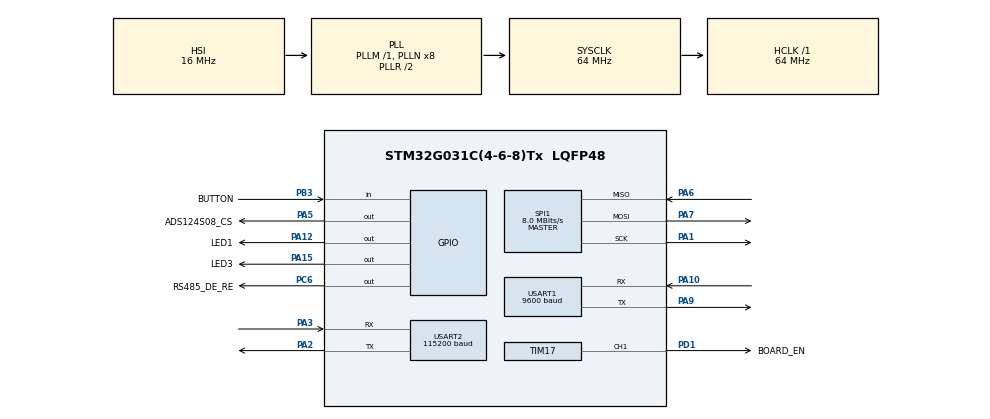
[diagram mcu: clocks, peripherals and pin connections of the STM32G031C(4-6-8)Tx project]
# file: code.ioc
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Mcu.Family=STM32G0
Mcu.Name=STM32G031C(4-6-8)Tx
Mcu.Package=LQFP48
NVIC.USART1_IRQn=true\:1\:0\:false\:false\:true\:true\:true\:true
IWDG.Prescaler=IWDG_PRESCALER_256
IWDG.Reload=499
PA1.Mode=Full_Duplex_Master
PA1.Signal=SPI1_SCK
PA10.Mode=Asynchronous
PA10.Signal=USART1_RX
PA12\ [PA10].GPIO_Label=LED1
PA12\ [PA10].PinState=GPIO_PIN_SET
PA12\ [PA10].Signal=GPIO_Output
PA13.Mode=Serial_Wire
PA13.Signal=SYS_SWDIO
PA14-BOOT0.Mode=Serial_Wire
PA14-BOOT0.Signal=SYS_SWCLK
PA15.GPIO_Label=LED3
PA15.PinState=GPIO_PIN_SET
PA15.Signal=GPIO_Output
PA2.Mode=Asynchronous
PA2.Signal=USART2_TX
PA3.Mode=Asynchronous
PA3.Signal=USART2_RX
PA5.GPIO_Label=ADS124S08_CS
PA5.Signal=GPIO_Output
PA6.Mode=Full_Duplex_Master
PA6.Signal=SPI1_MISO
PA7.Mode=Full_Duplex_Master
PA7.Signal=SPI1_MOSI
PA9.Mode=Asynchronous
PA9.Signal=USART1_TX
PB3.GPIO_Label=BUTTON
PB3.Signal=GPIO_Input
PC6.GPIO_Label=RS485_DE_RE
PC6.Signal=GPIO_Output
PD1.GPIO_Label=BOARD_EN
PD1.Mode=PWM Generation1 CH1
PD1.Signal=TIM17_CH1
PF0-OSC_IN\ (PF0).Mode=HSE-External-Oscillator
PF0-OSC_IN\ (PF0).Signal=RCC_OSC_IN
PF1-OSC_OUT\ (PF1).Mode=HSE-External-Oscillator
PF1-OSC_OUT\ (PF1).Signal=RCC_OSC_OUT
ProjectManager.HeapSize=0x200
ProjectManager.StackSize=0x400
ProjectManager.TargetToolchain=MDK-ARM V5.32
RCC.ADCFreq_Value=64000000
RCC.AHBFreq_Value=64000000
RCC.CortexFreq_Value=64000000
RCC.EXTERNAL_CLOCK_VALUE=12288000
RCC.HCLKFreq_Value=64000000
RCC.HSE_VALUE=8000000
RCC.HSI_VALUE=16000000
RCC.LSE_VALUE=32768
RCC.SYSCLKFreq_VALUE=64000000
RCC.SYSCLKSource=RCC_SYSCLKSOURCE_PLLCLK
RCC.VCOOutputFreq_Value=128000000
SPI1.BaudRatePrescaler=SPI_BAUDRATEPRESCALER_8
SPI1.CalculateBaudRate=8.0 MBits/s
SPI1.CLKPhase=SPI_PHASE_2EDGE
SPI1.Direction=SPI_DIRECTION_2LINES
SPI1.Mode=SPI_MODE_MASTER
SPI1.NSSPMode=SPI_NSS_PULSE_DISABLE
SPI1.VirtualType=VM_MASTER
TIM17.Channel-PWM\ Generation1\ CH1=TIM_CHANNEL_1
TIM17.Period=999
TIM17.Prescaler=63
USART1.BaudRate=9600
USART1.VirtualMode-Asynchronous=VM_ASYNC
USART2.BaudRate=115200
USART2.VirtualMode-Asynchronous=VM_ASYNC
VP_IWDG_VS_IWDG.Mode=IWDG_Activate
board=custom

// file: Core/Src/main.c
/* USER CODE BEGIN Header */
/**
  ******************************************************************************
  * @file           : main.c
  * @brief          : Main program body
  ******************************************************************************
  * @attention
  *
  * Copyright (c) 2026 STMicroelectronics.
  * All rights reserved.
  *
  * This software is licensed under terms that can be found in the LICENSE file
  * in the root directory of this software component.
  * If no LICENSE file comes with this software, it is provided AS-IS.
  *
  ******************************************************************************
  */
/* USER CODE END Header */
#include "main.h"
#include "spi.h"
#include "tim.h"
#include "usart.h"
#include "gpio.h"
#include "iwdg.h"

/* USER CODE BEGIN Includes */

#include "pt1000_app.h"
#include "temperature_control.h"
#include "temperature_control_profile.h"
#include "pwm_duty_test.h"
#include "board_io.h"
#include "temperature_modbus.h"

/* USER CODE END Includes */

/* USER CODE BEGIN PTD */

/** @brief PWM 输出运行模式。 */
typedef enum
{
  PWM_RUN_MODE_WORK = 0, /**< 正常工作：由四路温度反馈和 PID 调整占空比。 */
  PWM_RUN_MODE_TEST      /**< 测试模式：循环输出五档固定占空比。 */
} PWM_RunMode;

/* USER CODE END PTD */

/* USER CODE BEGIN PD */

/** 只需修改此宏即可在正常 PID 工作模式和 PWM 阶梯测试模式之间切换。 */
#define PWM_RUN_MODE PWM_RUN_MODE_WORK

/*
 * 第二轮整定加入小积分项。Kp 的单位为“占空比百分点/℃”：
 * 例如跟踪误差为 1 ℃、Kp=2 时，P 输出为 2%。
 * Ki 的单位为“占空比百分点/(℃·s)”，用于缓慢消除纯 P 稳态误差。
 */
#define TEMPERATURE_SETPOINT_C 42.0f
#define TEMPERATURE_INPUT_VOLTAGE_V 14.0f
#define TEMPERATURE_PID_KP      2.0f
#define TEMPERATURE_PID_KI      0.025f
#define TEMPERATURE_PID_KD      4.0f
/** 内部参考轨迹的一阶时间常数；越大则接近目标时减速越早。 */
#define TEMPERATURE_REFERENCE_TIME_CONSTANT_S 12.0f
/** 内部参考轨迹允许的最大升温/降温速度。 */
#define TEMPERATURE_REFERENCE_MAX_RATE_C_PER_S 0.30f
/** D 项低通滤波时间常数，用于抑制 ADC 噪声放大。 */
#define TEMPERATURE_D_FILTER_TIME_CONSTANT_S 1.0f
/** 工作模式下允许输出的最大高有效 PWM 占空比。 */
#define TEMPERATURE_PWM_MAX_DUTY_PERCENT 30.0f
/** 积分项单独限幅，避免积分独自给出过大的持续加热功率。 */
#define TEMPERATURE_PID_INTEGRAL_MAX_PERCENT 12.0f
/** 默认值；实际值由 TEMPERATURE_INPUT_VOLTAGE_V 的电压曲线函数覆盖。 */
#define TEMPERATURE_PID_INTEGRAL_INITIAL_PERCENT 5.5f
/** 任一有效通道到达此温度时锁定关闭加热，直到重新上电。 */
#define TEMPERATURE_OVERTEMPERATURE_C 45.0f
/** 非 0 时每轮输出一行纯数字 FireWater 温控数据，当前采集频率为 5 Hz。 */
#define TEMPERATURE_PID_TELEMETRY_ENABLE 1U
/** USART1/RS485 上固定使用的 Modbus RTU 从机地址。 */
#define TEMPERATURE_MODBUS_SLAVE_ADDRESS 1U

/* USER CODE END PD */

/* USER CODE BEGIN PV */

static PT1000_App pt1000_app;
static PT1000_AppConfig pt1000_config;
static PWM_DutyTest pwm_duty_test;
static TemperatureControl temperature_control;
static TemperatureControl_Config temperature_control_config;
static TemperatureModbus_HandleTypeDef temperature_modbus;

/* USER CODE END PV */

void SystemClock_Config(void);

int main(void)
{

  /* MCU Configuration--------------------------------------------------------*/

  /* Reset of all peripherals, Initializes the Flash interface and the Systick. */
  HAL_Init();

  /* Configure the system clock */
  SystemClock_Config();

  /* Initialize all configured peripherals */
  MX_GPIO_Init();
  /* USART2/H1 用于输出纯数字 FireWater 温控数据。 */
  MX_USART2_UART_Init();
  MX_SPI1_Init();
  MX_TIM17_Init();
  MX_USART1_UART_Init();
  /* USER CODE BEGIN 2 */

  BoardIO_Init();

  PT1000_AppGetDefaultConfig(&pt1000_config);
  PT1000_AppInit(&pt1000_app, &hspi1, &huart2,
                 ADS124S08_CS_GPIO_Port, ADS124S08_CS_Pin,
                 GPIOA, GPIO_PIN_6, &pt1000_config);

  if (PWM_RUN_MODE == PWM_RUN_MODE_TEST)
  {
    /* 测试模式绕过 PID，避免温度有效性检查把测试占空比重新置为 0%。 */
    if (PWM_DutyTest_Init(&pwm_duty_test, &htim17,
                          TIM_CHANNEL_1) != HAL_OK)
    {
      __HAL_TIM_SET_COMPARE(&htim17, TIM_CHANNEL_1, 0U);
    }
  }
  else
  {
    TemperatureControl_GetDefaultConfig(&temperature_control_config);
    /* 根据首轮纯 P 曲线加入小积分项，用于消除约 2.37 ℃ 稳态误差。 */
    temperature_control_config.setpoint_c = TEMPERATURE_SETPOINT_C;
    temperature_control_config.pid.kp = TEMPERATURE_PID_KP;
    temperature_control_config.pid.ki = TEMPERATURE_PID_KI;
    temperature_control_config.pid.kd = TEMPERATURE_PID_KD;
    temperature_control_config.pid.derivative_filter_time_constant_s =
        TEMPERATURE_D_FILTER_TIME_CONSTANT_S;
    temperature_control_config.pid.output_max =
        TEMPERATURE_PWM_MAX_DUTY_PERCENT;
    temperature_control_config.pid.integral_max =
        TEMPERATURE_PID_INTEGRAL_MAX_PERCENT;
    temperature_control_config.pid.integral_initial =
        TEMPERATURE_PID_INTEGRAL_INITIAL_PERCENT;
    /* 根据实际 VIN 只选择维持功率前馈初值和硬件安全输出上限。 */
    TemperatureControl_ApplyVoltageProfile(&temperature_control_config,
                                           TEMPERATURE_INPUT_VOLTAGE_V);
    temperature_control_config.reference_time_constant_s =
        TEMPERATURE_REFERENCE_TIME_CONSTANT_S;
    temperature_control_config.reference_max_rate_c_per_s =
        TEMPERATURE_REFERENCE_MAX_RATE_C_PER_S;
    temperature_control_config.feedback_mode =
        TEMPERATURE_FEEDBACK_MAXIMUM;
    temperature_control_config.overtemperature_c =
        TEMPERATURE_OVERTEMPERATURE_C;
    temperature_control_config.telemetry_enabled =
        TEMPERATURE_PID_TELEMETRY_ENABLE;
    if (TemperatureControl_Init(&temperature_control, &htim17, TIM_CHANNEL_1,
                                &pt1000_app,
                                &temperature_control_config) != HAL_OK)
    {
      /* PWM/PID 初始化失败时保持 PD1/EN 为安全的非加热状态。 */
      __HAL_TIM_SET_COMPARE(&htim17, TIM_CHANNEL_1, 0U);
    }
    else
    {
      /*
       * USART1 固定为 9600 8N1，PC6 高发送、低接收。初始化失败不会
       * 影响本地采集和温控，只会令 485 业务保持不可用。
       */
      (void)TemperatureModbus_Init(&temperature_modbus, &huart1,
                                   RS485_DE_RE_GPIO_Port,
                                   RS485_DE_RE_Pin,
                                   TEMPERATURE_MODBUS_SLAVE_ADDRESS,
                                   &pt1000_app, &temperature_control);
    }
  }
  /* 定时器输出启动后再把 PD1 切为复用功能，避免 EN 出现启动毛刺。 */
  MX_TIM17_PWM_GPIO_Init();

  /* 所有应用和加热输出均进入确定状态后再启动约 4 秒独立看门狗。 */
  MX_IWDG_Init();

  /* USER CODE END 2 */

  /* Infinite loop */
  /* USER CODE BEGIN WHILE */
  while (1)
  {
    BoardButton_Update();
    /* 在进入阻塞式 ADC 采样前先处理已经收完的 Modbus RTU 请求。 */
    TemperatureModbus_Process(&temperature_modbus, HAL_GetTick());
    PT1000_AppTask(&pt1000_app);
    if (PWM_RUN_MODE == PWM_RUN_MODE_TEST)
    {
      PWM_DutyTest_Task(&pwm_duty_test);
    }
    else
    {
      TemperatureControl_Task(&temperature_control);
    }

    /* ADC 采样期间收到的帧在这里尽快应答，最坏延迟约为一轮采样时间。 */
    TemperatureModbus_Process(&temperature_modbus, HAL_GetTick());

    /* 直接读取 TIM17 实际比较值，兼容 PID 工作模式和 PWM 阶梯测试模式。 */
    BoardHeatingIndicator_Update(
        (__HAL_TIM_GET_COMPARE(&htim17, TIM_CHANNEL_1) != 0U) ? 1U : 0U);

    /* 只有本轮按键、采集、温控和状态指示任务全部返回后才刷新看门狗。 */
    if (HAL_IWDG_Refresh(&hiwdg) != HAL_OK)
    {
      Error_Handler();
    }
    /* USER CODE END WHILE */

  }
}

void SystemClock_Config(void)
{
  RCC_OscInitTypeDef RCC_OscInitStruct = {0};
  RCC_ClkInitTypeDef RCC_ClkInitStruct = {0};

  /** Configure the main internal regulator output voltage
  */
  HAL_PWREx_ControlVoltageScaling(PWR_REGULATOR_VOLTAGE_SCALE1);

  /** Initializes the RCC Oscillators according to the specified parameters
  * in the RCC_OscInitTypeDef structure.
  */
  RCC_OscInitStruct.OscillatorType = RCC_OSCILLATORTYPE_HSI;
  RCC_OscInitStruct.HSIState = RCC_HSI_ON;
  RCC_OscInitStruct.HSIDiv = RCC_HSI_DIV1;
  RCC_OscInitStruct.HSICalibrationValue = RCC_HSICALIBRATION_DEFAULT;
  RCC_OscInitStruct.PLL.PLLState = RCC_PLL_ON;
  RCC_OscInitStruct.PLL.PLLSource = RCC_PLLSOURCE_HSI;
  RCC_OscInitStruct.PLL.PLLM = RCC_PLLM_DIV1;
  RCC_OscInitStruct.PLL.PLLN = 8;
  RCC_OscInitStruct.PLL.PLLP = RCC_PLLP_DIV2;
  RCC_OscInitStruct.PLL.PLLQ = RCC_PLLQ_DIV2;
  RCC_OscInitStruct.PLL.PLLR = RCC_PLLR_DIV2;
  if (HAL_RCC_OscConfig(&RCC_OscInitStruct) != HAL_OK)
  {
    Error_Handler();
  }

  /** Initializes the CPU, AHB and APB buses clocks
  */
  RCC_ClkInitStruct.ClockType = RCC_CLOCKTYPE_HCLK|RCC_CLOCKTYPE_SYSCLK
                              |RCC_CLOCKTYPE_PCLK1;
  RCC_ClkInitStruct.SYSCLKSource = RCC_SYSCLKSOURCE_PLLCLK;
  RCC_ClkInitStruct.AHBCLKDivider = RCC_SYSCLK_DIV1;
  RCC_ClkInitStruct.APB1CLKDivider = RCC_HCLK_DIV1;

  if (HAL_RCC_ClockConfig(&RCC_ClkInitStruct, FLASH_LATENCY_2) != HAL_OK)
  {
    Error_Handler();
  }
}

/* USER CODE BEGIN 4 */

/** @brief USART1 最后一个停止位发送完成后恢复 RS485 接收方向。 */
void HAL_UART_TxCpltCallback(UART_HandleTypeDef *huart)
{
  TemperatureModbus_OnUartTxCompleteISR(&temperature_modbus, huart);
}

/** @brief 把 USART1 收到的单个字节交给 RS485 帧缓冲区。 */
void HAL_UART_RxCpltCallback(UART_HandleTypeDef *huart)
{
  TemperatureModbus_OnUartRxCompleteISR(&temperature_modbus, huart);
}

/** @brief 发生溢出、帧错误或噪声错误时丢弃当前帧并恢复接收。 */
void HAL_UART_ErrorCallback(UART_HandleTypeDef *huart)
{
  TemperatureModbus_OnUartErrorISR(&temperature_modbus, huart);
}

/* USER CODE END 4 */

void Error_Handler(void)
{
  /* USER CODE BEGIN Error_Handler_Debug */
  /*
   * 发生不可恢复错误时关闭加热并停机。系统时钟等早期初始化也可能进入
   * 本函数，因此只有 TIM17 已绑定实例后才能访问其比较寄存器。
   */
  if (htim17.Instance == TIM17)
  {
    __HAL_TIM_SET_COMPARE(&htim17, TIM_CHANNEL_1, 0U);
  }
  __disable_irq();
  while (1)
  {
  }
  /* USER CODE END Error_Handler_Debug */
}
